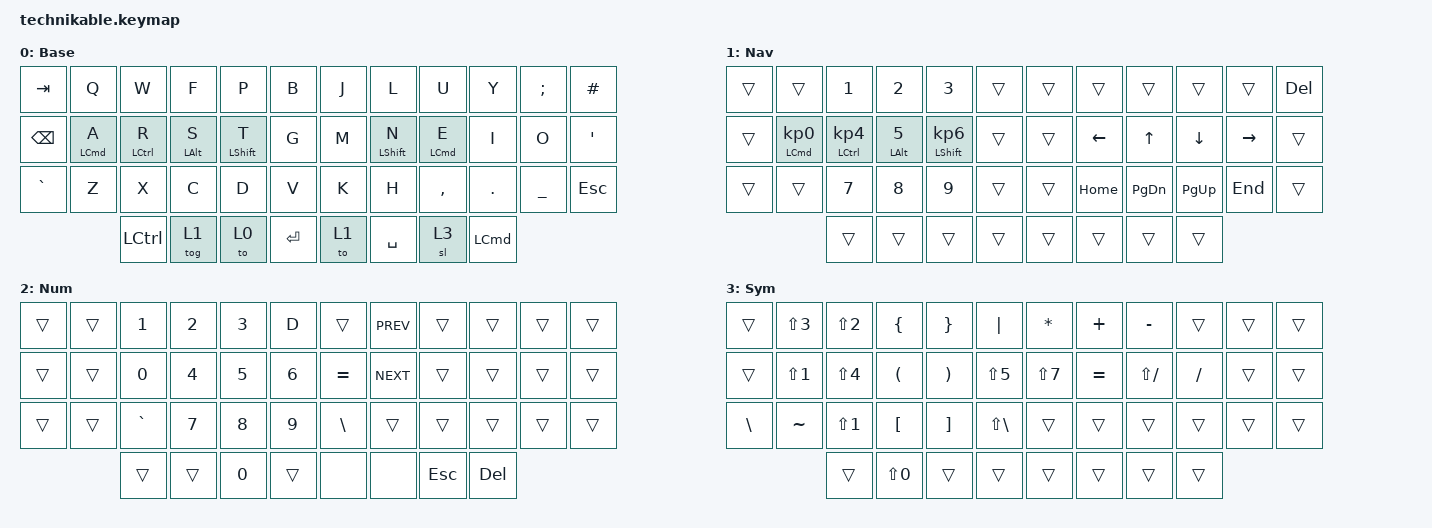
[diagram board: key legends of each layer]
/*
 * Copyright (c) 2022 Pete Johanson
 *
 * SPDX-License-Identifier: MIT
 */

#include <behaviors.dtsi>
#include <dt-bindings/zmk/keys.h>

#define BAS_L 0
#define NAV_L 1
#define NUM_L 2
#define SYM_L 3

// Using layer taps on thumbs, having quick tap as well helps w/ repeating space/backspace

&lt { quick_tap_ms = <200>; };

&mt {
    tapping-term-ms = <280>;
    flavor = "tap-preferred";
};

/ {
    chosen { zmk,matrix_transform = &ortho_transform; };

    keymap {
        compatible = "zmk,keymap";

        base_layer {
            label = "Base";
            bindings = <
&kp TAB        &kp Q               &kp W               &kp F           &kp P             &kp B             &kp J      &kp L             &kp U               &kp Y    &kp SEMI        &kp HASH
&kp BACKSPACE  &mt LEFT_COMMAND A  &mt LEFT_CONTROL R  &mt LEFT_ALT S  &mt LEFT_SHIFT T  &kp G             &kp M      &mt LEFT_SHIFT N  &mt LEFT_COMMAND E  &kp I    &kp O           &kp SQT
&kp GRAVE      &kp Z               &kp X               &kp C           &kp D             &kp V             &kp K      &kp H             &kp COMMA           &kp DOT  &kp UNDERSCORE  &kp ESC
                                   &kp LCTRL           &tog 1          &to 0             &kp ENTER  &to 1  &kp SPACE  &sl 3             &kp LEFT_COMMAND
            >;
        };

        nav_layer {
            label = "Nav";
            bindings = <
&trans  &trans                        &kp N1                        &kp N2       &kp N3                      &trans          &trans  &trans          &trans     &trans          &trans     &kp DEL
&trans  &mt LEFT_COMMAND KP_NUMBER_0  &mt LEFT_CONTROL KP_NUMBER_4  &mt LALT N5  &mt LEFT_SHIFT KP_NUMBER_6  &trans          &trans  &kp LEFT_ARROW  &kp UP     &kp DOWN_ARROW  &kp RIGHT  &trans
&trans  &trans                        &kp N7                        &kp N8       &kp N9                      &trans          &trans  &kp HOME        &kp PG_DN  &kp PG_UP       &kp END    &trans
                                      &trans                        &trans       &trans                      &trans  &trans  &trans  &trans          &trans
            >;
        };

        num_layer {
            label = "Num";
            bindings = <
&trans  &trans  &kp N1     &kp N2  &kp N3  &kp D          &trans     &kp C_PREV  &trans   &trans  &trans  &trans
&trans  &trans  &kp N0     &kp N4  &kp N5  &kp N6         &kp EQUAL  &kp C_NEXT  &trans   &trans  &trans  &trans
&trans  &trans  &kp GRAVE  &kp N7  &kp N8  &kp N9         &kp BSLH   &trans      &trans   &trans  &trans  &trans
                &trans     &trans  &kp N0  &trans  &none  &none      &kp ESC     &kp DEL
            >;
        };

        sym_layer {
            label = "Sym";
            bindings = <
&trans    &kp LS(N3)  &kp LS(N2)  &kp LBRC    &kp RBRC  &kp PIPE              &kp ASTERISK  &kp PLUS   &kp MINUS     &trans    &trans  &trans
&trans    &kp LS(N1)  &kp LS(N4)  &kp LPAR    &kp RPAR  &kp LS(N5)            &kp LS(N7)    &kp EQUAL  &kp LS(FSLH)  &kp FSLH  &trans  &trans
&kp BSLH  &kp TILDE   &kp LS(N1)  &kp LBKT    &kp RBKT  &kp LS(BSLH)          &trans        &trans     &trans        &trans    &trans  &trans
                      &trans      &kp LS(N0)  &trans    &trans        &trans  &trans        &trans     &trans
            >;
        };
    };
};
